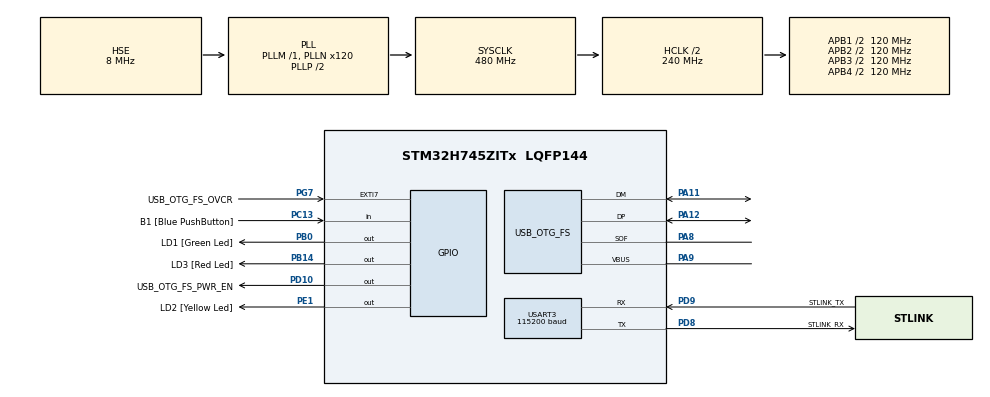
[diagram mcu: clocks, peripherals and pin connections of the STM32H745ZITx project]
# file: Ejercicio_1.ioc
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CortexM4.IPs=FATFS_M4\:I,FREERTOS_M4\:I,IWDG2\:I,RCC,WWDG2\:I,DMA,BDMA,MDMA,NVIC2\:I,DEBUG,USB_DEVICE_M4\:I,USB_HOST_M4\:I,PDM2PCM_M4\:I,PWR,RESMGR_UTILITY,SYS_M4\:I,CORTEX_M4\:I,OPENAMP_M4\:I,VREFBUF,GPIO,RTC\:I
CortexM7.IPs=FATFS_M7\:I,FREERTOS_M7\:I,IWDG1\:I,RCC\:I,WWDG1\:I,DMA\:I,BDMA\:I,MDMA\:I,NVIC1\:I,SYS\:I,USART3\:I,USB_OTG_FS\:I,CORTEX_M7\:I,DEBUG\:I,USB_DEVICE_M7\:I,USB_HOST_M7\:I,PDM2PCM_M7\:I,PWR\:I,RESMGR_UTILITY\:I,OPENAMP_M7\:I,VREFBUF\:I,GPIO\:I,TIM2\:I
Mcu.Family=STM32H7
Mcu.Name=STM32H745ZITx
Mcu.Package=LQFP144
NVIC1.PriorityGroup=NVIC_PRIORITYGROUP_4
NVIC2.PriorityGroup=NVIC_PRIORITYGROUP_4
PA1.PinAttribute=CortexM7
PA1.Signal=ETH_REF_CLK
PA11.Mode=Device_Only
PA11.PinAttribute=CortexM7
PA11.Signal=USB_OTG_FS_DM
PA12.Mode=Device_Only
PA12.PinAttribute=CortexM7
PA12.Signal=USB_OTG_FS_DP
PA2.PinAttribute=CortexM7
PA2.Signal=ETH_MDIO
PA7.PinAttribute=CortexM7
PA7.Signal=ETH_CRS_DV
PA8.Mode=Activate_SOF_FS
PA8.PinAttribute=CortexM7
PA8.Signal=USB_OTG_FS_SOF
PA9.Mode=Activate_VBUS
PA9.PinAttribute=CortexM7
PA9.Signal=USB_OTG_FS_VBUS
PB0.GPIO_Label=LD1 [Green Led]
PB0.PinAttribute=Free
PB0.Signal=GPIO_Output
PB13.PinAttribute=CortexM7
PB13.Signal=ETH_TXD1
PB14.GPIO_Label=LD3 [Red Led]
PB14.PinAttribute=Free
PB14.Signal=GPIO_Output
PC1.PinAttribute=CortexM7
PC1.Signal=ETH_MDC
PC13.GPIO_Label=B1 [Blue PushButton]
PC13.PinAttribute=Free
PC13.Signal=GPIO_Input
PC14-OSC32_IN\ (OSC32_IN).Mode=LSE-External-Oscillator
PC14-OSC32_IN\ (OSC32_IN).PinAttribute=CortexM7
PC14-OSC32_IN\ (OSC32_IN).Signal=RCC_OSC32_IN
PC15-OSC32_OUT\ (OSC32_OUT).Mode=LSE-External-Oscillator
PC15-OSC32_OUT\ (OSC32_OUT).PinAttribute=CortexM7
PC15-OSC32_OUT\ (OSC32_OUT).Signal=RCC_OSC32_OUT
PC4.PinAttribute=CortexM7
PC4.Signal=ETH_RXD0
PC5.PinAttribute=CortexM7
PC5.Signal=ETH_RXD1
PD10.GPIO_Label=USB_OTG_FS_PWR_EN
PD10.PinAttribute=Free
PD10.Signal=GPIO_Output
PD8.GPIO_Label=STLINK_RX
PD8.Mode=Asynchronous
PD8.PinAttribute=CortexM7
PD8.Signal=USART3_TX
PD9.GPIO_Label=STLINK_TX
PD9.Mode=Asynchronous
PD9.PinAttribute=CortexM7
PD9.Signal=USART3_RX
PE1.GPIO_Label=LD2 [Yellow Led]
PE1.PinAttribute=Free
PE1.Signal=GPIO_Output
PG11.PinAttribute=CortexM7
PG11.Signal=ETH_TX_EN
PG13.PinAttribute=CortexM7
PG13.Signal=ETH_TXD0
PG7.GPIO_Label=USB_OTG_FS_OVCR
PG7.PinAttribute=Free
PG7.Signal=GPXTI7
PH0-OSC_IN\ (PH0).Mode=HSE-External-Clock-Source
PH0-OSC_IN\ (PH0).PinAttribute=CortexM7
PH0-OSC_IN\ (PH0).Signal=RCC_OSC_IN
PH1-OSC_OUT\ (PH1).PinAttribute=CortexM7
PH1-OSC_OUT\ (PH1).Signal=RCC_OSC_OUT
ProjectManager.HeapSize=M4-0x200,M7-0x200
ProjectManager.StackSize=M4-0x400,M7-0x400
ProjectManager.TargetToolchain=STM32CubeIDE
RCC.ADCFreq_Value=16125000
RCC.APB1Freq_Value=120000000
RCC.APB2Freq_Value=120000000
RCC.APB3Freq_Value=120000000
RCC.APB4Freq_Value=120000000
RCC.CortexFreq_Value=480000000
RCC.D1PPRE=RCC_APB3_DIV2
RCC.D2PPRE1=RCC_APB1_DIV2
RCC.D2PPRE2=RCC_APB2_DIV2
RCC.D3PPRE=RCC_APB4_DIV2
RCC.DIVM1=1
RCC.DIVM3=1
RCC.DIVN1=120
RCC.DIVN3=24
RCC.DIVQ3=4
RCC.HCLKFreq_Value=240000000
RCC.HPRE=RCC_HCLK_DIV2
RCC.HSE_VALUE=8000000
RCC.PLL2FRACN=0
RCC.PLL3FRACN=0
RCC.PLLFRACN=0
RCC.SYSCLKFreq_VALUE=480000000
RCC.SYSCLKSource=RCC_SYSCLKSOURCE_PLLCLK
RCC.SupplySource=PWR_DIRECT_SMPS_SUPPLY
RCC.USBCLockSelection=RCC_USBCLKSOURCE_PLL3
RCC.USBFreq_Value=48000000
TIM2.Prescaler=240
USART3.BaudRate=115200
USART3.VirtualMode-Asynchronous=VM_ASYNC
USB_OTG_FS.VirtualMode=Device_Only
VP_SYS_M4_VS_Systick.Mode=SysTick
VP_TIM2_VS_ClockSourceINT.Mode=Internal
board=NUCLEO-H745ZI-Q

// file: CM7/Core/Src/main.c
/* USER CODE BEGIN Header */
/**
  ******************************************************************************
  * @file           : main.c
  * @brief          : Main program body
  ******************************************************************************
  * @attention
  *
  * Copyright (c) 2022 STMicroelectronics.
  * All rights reserved.
  *
  * This software is licensed under terms that can be found in the LICENSE file
  * in the root directory of this software component.
  * If no LICENSE file comes with this software, it is provided AS-IS.
  *
  ******************************************************************************
  */
/* USER CODE END Header */
#include "main.h"

/* USER CODE BEGIN Includes */
#include <stdio.h>
#include <string.h>

/* USER CODE END Includes */

/* USER CODE BEGIN PD */

#ifndef HSEM_ID_0
#define HSEM_ID_0 (0U) /* HW semaphore 0*/
#endif
/* USER CODE END PD */

TIM_HandleTypeDef htim2;

UART_HandleTypeDef huart3;

PCD_HandleTypeDef hpcd_USB_OTG_FS;

void SystemClock_Config(void);
static void MX_GPIO_Init(void);
static void MX_USART3_UART_Init(void);
static void MX_USB_OTG_FS_PCD_Init(void);
static void MX_TIM2_Init(void);

int main(void)
{
  /* USER CODE BEGIN 1 */
	char uart_buf[50];
	uint16_t uart_buf_len;
	unsigned timer_val;

  /* USER CODE END 1 */
/* USER CODE BEGIN Boot_Mode_Sequence_0 */
  int32_t timeout;
/* USER CODE END Boot_Mode_Sequence_0 */

/* USER CODE BEGIN Boot_Mode_Sequence_1 */
  /* Wait until CPU2 boots and enters in stop mode or timeout*/
  timeout = 0xFFFF;
  while((__HAL_RCC_GET_FLAG(RCC_FLAG_D2CKRDY) != RESET) && (timeout-- > 0));
  if ( timeout < 0 )
  {
  Error_Handler();
  }
/* USER CODE END Boot_Mode_Sequence_1 */
  /* MCU Configuration--------------------------------------------------------*/

  /* Reset of all peripherals, Initializes the Flash interface and the Systick. */
  HAL_Init();

  /* Configure the system clock */
  SystemClock_Config();
/* USER CODE BEGIN Boot_Mode_Sequence_2 */
/* When system initialization is finished, Cortex-M7 will release Cortex-M4 by means of
HSEM notification */
/*HW semaphore Clock enable*/
__HAL_RCC_HSEM_CLK_ENABLE();
/*Take HSEM */
HAL_HSEM_FastTake(HSEM_ID_0);
/*Release HSEM in order to notify the CPU2(CM4)*/
HAL_HSEM_Release(HSEM_ID_0,0);
/* wait until CPU2 wakes up from stop mode */
timeout = 0xFFFF;
while((__HAL_RCC_GET_FLAG(RCC_FLAG_D2CKRDY) == RESET) && (timeout-- > 0));
if ( timeout < 0 )
{
Error_Handler();
}
/* USER CODE END Boot_Mode_Sequence_2 */

  /* Initialize all configured peripherals */
  MX_GPIO_Init();
  MX_USART3_UART_Init();
  MX_USB_OTG_FS_PCD_Init();
  MX_TIM2_Init();
  /* USER CODE BEGIN 2 */

  uart_buf_len = sprintf(uart_buf, "Timer test\r\n");
  /* Almanena en uart_buf_len el número de caracteres del string formateado de uart_buf*/
  HAL_UART_Transmit(&huart3, (uint8_t *)uart_buf, uart_buf_len, 100);
  /* Envía por el puerto Tx del USART3 (PD9) el mensaje formateado en uart_buf en bloques
   * en tamaños de trama de 8 bits*/
  HAL_TIM_Base_Start(&htim2);
  /* Inicia la generación base del timer*/

  /* USER CODE END 2 */

  /* Infinite loop */
  while (1)
  {

    /* USER CODE BEGIN 3 */
    /*El siguiente código cuenta con el timer el delay que se coloca en la línea 158
    y lo manda por UART de vuelta a la computadora para leer con el monitor serial*/
	  timer_val = __HAL_TIM_GET_COUNTER(&htim2);
	  HAL_Delay(150);
	  timer_val = __HAL_TIM_GET_COUNTER(&htim2) - timer_val;
	  uart_buf_len = sprintf(uart_buf, "%u us\r\n", timer_val);
	  HAL_UART_Transmit(&huart3, (uint8_t *)uart_buf, uart_buf_len, 100);
	  HAL_Delay(1000);

  }
  /* USER CODE END 3 */
}

void SystemClock_Config(void)
{
  RCC_OscInitTypeDef RCC_OscInitStruct = {0};
  RCC_ClkInitTypeDef RCC_ClkInitStruct = {0};

  /** Supply configuration update enable
  */
  HAL_PWREx_ConfigSupply(PWR_DIRECT_SMPS_SUPPLY);

  /** Configure the main internal regulator output voltage
  */
  __HAL_PWR_VOLTAGESCALING_CONFIG(PWR_REGULATOR_VOLTAGE_SCALE0);

  while(!__HAL_PWR_GET_FLAG(PWR_FLAG_VOSRDY)) {}

  /** Macro to configure the PLL clock source
  */
  __HAL_RCC_PLL_PLLSOURCE_CONFIG(RCC_PLLSOURCE_HSE);

  /** Initializes the RCC Oscillators according to the specified parameters
  * in the RCC_OscInitTypeDef structure.
  */
  RCC_OscInitStruct.OscillatorType = RCC_OSCILLATORTYPE_HSE;
  RCC_OscInitStruct.HSEState = RCC_HSE_BYPASS;
  RCC_OscInitStruct.PLL.PLLState = RCC_PLL_ON;
  RCC_OscInitStruct.PLL.PLLSource = RCC_PLLSOURCE_HSE;
  RCC_OscInitStruct.PLL.PLLM = 1;
  RCC_OscInitStruct.PLL.PLLN = 120;
  RCC_OscInitStruct.PLL.PLLP = 2;
  RCC_OscInitStruct.PLL.PLLQ = 2;
  RCC_OscInitStruct.PLL.PLLR = 2;
  RCC_OscInitStruct.PLL.PLLRGE = RCC_PLL1VCIRANGE_3;
  RCC_OscInitStruct.PLL.PLLVCOSEL = RCC_PLL1VCOWIDE;
  RCC_OscInitStruct.PLL.PLLFRACN = 0;
  if (HAL_RCC_OscConfig(&RCC_OscInitStruct) != HAL_OK)
  {
    Error_Handler();
  }

  /** Initializes the CPU, AHB and APB buses clocks
  */
  RCC_ClkInitStruct.ClockType = RCC_CLOCKTYPE_HCLK|RCC_CLOCKTYPE_SYSCLK
                              |RCC_CLOCKTYPE_PCLK1|RCC_CLOCKTYPE_PCLK2
                              |RCC_CLOCKTYPE_D3PCLK1|RCC_CLOCKTYPE_D1PCLK1;
  RCC_ClkInitStruct.SYSCLKSource = RCC_SYSCLKSOURCE_PLLCLK;
  RCC_ClkInitStruct.SYSCLKDivider = RCC_SYSCLK_DIV1;
  RCC_ClkInitStruct.AHBCLKDivider = RCC_HCLK_DIV2;
  RCC_ClkInitStruct.APB3CLKDivider = RCC_APB3_DIV2;
  RCC_ClkInitStruct.APB1CLKDivider = RCC_APB1_DIV2;
  RCC_ClkInitStruct.APB2CLKDivider = RCC_APB2_DIV2;
  RCC_ClkInitStruct.APB4CLKDivider = RCC_APB4_DIV2;

  if (HAL_RCC_ClockConfig(&RCC_ClkInitStruct, FLASH_LATENCY_4) != HAL_OK)
  {
    Error_Handler();
  }
}

static void MX_TIM2_Init(void)
{

  TIM_ClockConfigTypeDef sClockSourceConfig = {0};
  TIM_MasterConfigTypeDef sMasterConfig = {0};

  htim2.Instance = TIM2;
  htim2.Init.Prescaler = 240;
  htim2.Init.CounterMode = TIM_COUNTERMODE_UP;
  htim2.Init.Period = 4294967295;
  htim2.Init.ClockDivision = TIM_CLOCKDIVISION_DIV1;
  htim2.Init.AutoReloadPreload = TIM_AUTORELOAD_PRELOAD_DISABLE;
  if (HAL_TIM_Base_Init(&htim2) != HAL_OK)
  {
    Error_Handler();
  }
  sClockSourceConfig.ClockSource = TIM_CLOCKSOURCE_INTERNAL;
  if (HAL_TIM_ConfigClockSource(&htim2, &sClockSourceConfig) != HAL_OK)
  {
    Error_Handler();
  }
  sMasterConfig.MasterOutputTrigger = TIM_TRGO_RESET;
  sMasterConfig.MasterSlaveMode = TIM_MASTERSLAVEMODE_DISABLE;
  if (HAL_TIMEx_MasterConfigSynchronization(&htim2, &sMasterConfig) != HAL_OK)
  {
    Error_Handler();
  }

}

static void MX_USART3_UART_Init(void)
{

  huart3.Instance = USART3;
  huart3.Init.BaudRate = 115200;
  huart3.Init.WordLength = UART_WORDLENGTH_8B;
  huart3.Init.StopBits = UART_STOPBITS_1;
  huart3.Init.Parity = UART_PARITY_NONE;
  huart3.Init.Mode = UART_MODE_TX_RX;
  huart3.Init.HwFlowCtl = UART_HWCONTROL_NONE;
  huart3.Init.OverSampling = UART_OVERSAMPLING_16;
  huart3.Init.OneBitSampling = UART_ONE_BIT_SAMPLE_DISABLE;
  huart3.Init.ClockPrescaler = UART_PRESCALER_DIV1;
  huart3.AdvancedInit.AdvFeatureInit = UART_ADVFEATURE_NO_INIT;
  if (HAL_UART_Init(&huart3) != HAL_OK)
  {
    Error_Handler();
  }
  if (HAL_UARTEx_SetTxFifoThreshold(&huart3, UART_TXFIFO_THRESHOLD_1_8) != HAL_OK)
  {
    Error_Handler();
  }
  if (HAL_UARTEx_SetRxFifoThreshold(&huart3, UART_RXFIFO_THRESHOLD_1_8) != HAL_OK)
  {
    Error_Handler();
  }
  if (HAL_UARTEx_DisableFifoMode(&huart3) != HAL_OK)
  {
    Error_Handler();
  }

}

static void MX_USB_OTG_FS_PCD_Init(void)
{

  hpcd_USB_OTG_FS.Instance = USB_OTG_FS;
  hpcd_USB_OTG_FS.Init.dev_endpoints = 9;
  hpcd_USB_OTG_FS.Init.speed = PCD_SPEED_FULL;
  hpcd_USB_OTG_FS.Init.dma_enable = DISABLE;
  hpcd_USB_OTG_FS.Init.phy_itface = PCD_PHY_EMBEDDED;
  hpcd_USB_OTG_FS.Init.Sof_enable = DISABLE;
  hpcd_USB_OTG_FS.Init.low_power_enable = DISABLE;
  hpcd_USB_OTG_FS.Init.lpm_enable = DISABLE;
  hpcd_USB_OTG_FS.Init.battery_charging_enable = ENABLE;
  hpcd_USB_OTG_FS.Init.vbus_sensing_enable = ENABLE;
  hpcd_USB_OTG_FS.Init.use_dedicated_ep1 = DISABLE;
  if (HAL_PCD_Init(&hpcd_USB_OTG_FS) != HAL_OK)
  {
    Error_Handler();
  }

}

static void MX_GPIO_Init(void)
{

  /* GPIO Ports Clock Enable */
  __HAL_RCC_GPIOC_CLK_ENABLE();
  __HAL_RCC_GPIOH_CLK_ENABLE();
  __HAL_RCC_GPIOD_CLK_ENABLE();
  __HAL_RCC_GPIOA_CLK_ENABLE();

}

void Error_Handler(void)
{
  __disable_irq();
  while (1)
  {
  }
}
